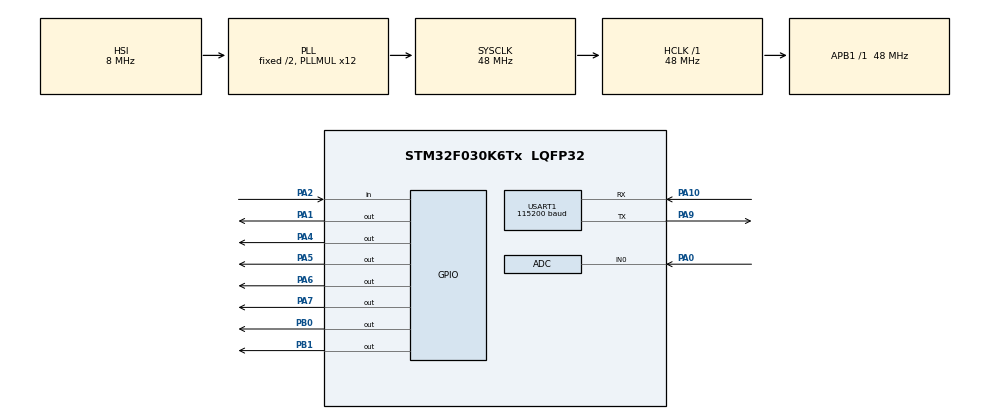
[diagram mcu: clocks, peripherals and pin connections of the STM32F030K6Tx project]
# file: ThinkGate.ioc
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Mcu.Family=STM32F0
Mcu.Name=STM32F030K6Tx
Mcu.Package=LQFP32
NVIC.USART1_IRQn=true\:1\:0\:true\:false\:true
PA0.Mode=IN0
PA0.Signal=ADC_IN0
PA1.Signal=GPIO_Output
PA10.Mode=Multiprocessor_communication
PA10.Signal=USART1_RX
PA13.Mode=Serial_Wire
PA13.Signal=SYS_SWDIO
PA14.Mode=Serial_Wire
PA14.Signal=SYS_SWCLK
PA2.Signal=GPIO_Input
PA4.Signal=GPIO_Output
PA5.Signal=GPIO_Output
PA6.Signal=GPIO_Output
PA7.Signal=GPIO_Output
PA9.Mode=Multiprocessor_communication
PA9.Signal=USART1_TX
PB0.Signal=GPIO_Output
PB1.Signal=GPIO_Output
ProjectManager.HeapSize=0x200
ProjectManager.StackSize=0x400
ProjectManager.TargetToolchain=MDK-ARM V5
RCC.AHBFreq_Value=48000000
RCC.APB1Freq_Value=48000000
RCC.APB1TimFreq_Value=48000000
RCC.HCLKFreq_Value=48000000
RCC.PLLMUL=RCC_PLL_MUL12
RCC.SYSCLKFreq_VALUE=48000000
RCC.SYSCLKSource=RCC_SYSCLKSOURCE_PLLCLK
USART1.BaudRate=115200
board=ThinkGate

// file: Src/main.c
/**
  ******************************************************************************
  * File Name          : main.c
  * Description        : Main program body
  ******************************************************************************
  *
  * COPYRIGHT(c) 2017 STMicroelectronics
  *
  * Redistribution and use in source and binary forms, with or without modification,
  * are permitted provided that the following conditions are met:
  *   1. Redistributions of source code must retain the above copyright notice,
  *      this list of conditions and the following disclaimer.
  *   2. Redistributions in binary form must reproduce the above copyright notice,
  *      this list of conditions and the following disclaimer in the documentation
  *      and/or other materials provided with the distribution.
  *   3. Neither the name of STMicroelectronics nor the names of its contributors
  *      may be used to endorse or promote products derived from this software
  *      without specific prior written permission.
  *
  * THIS SOFTWARE IS PROVIDED BY THE COPYRIGHT HOLDERS AND CONTRIBUTORS "AS IS"
  * AND ANY EXPRESS OR IMPLIED WARRANTIES, INCLUDING, BUT NOT LIMITED TO, THE
  * IMPLIED WARRANTIES OF MERCHANTABILITY AND FITNESS FOR A PARTICULAR PURPOSE ARE
  * DISCLAIMED. IN NO EVENT SHALL THE COPYRIGHT HOLDER OR CONTRIBUTORS BE LIABLE
  * FOR ANY DIRECT, INDIRECT, INCIDENTAL, SPECIAL, EXEMPLARY, OR CONSEQUENTIAL
  * DAMAGES (INCLUDING, BUT NOT LIMITED TO, PROCUREMENT OF SUBSTITUTE GOODS OR
  * SERVICES; LOSS OF USE, DATA, OR PROFITS; OR BUSINESS INTERRUPTION) HOWEVER
  * CAUSED AND ON ANY THEORY OF LIABILITY, WHETHER IN CONTRACT, STRICT LIABILITY,
  * OR TORT (INCLUDING NEGLIGENCE OR OTHERWISE) ARISING IN ANY WAY OUT OF THE USE
  * OF THIS SOFTWARE, EVEN IF ADVISED OF THE POSSIBILITY OF SUCH DAMAGE.
  *
  ******************************************************************************
  */
#include "main.h"
#include "stm32f0xx_hal.h"

/* USER CODE BEGIN Includes */
#include "sys.h"
#include "think_gate.h"
#include "string.h"
/* USER CODE END Includes */

ADC_HandleTypeDef hadc;

UART_HandleTypeDef huart1;

/* USER CODE BEGIN PV */
/* Private variables ---------------------------------------------------------*/
extern uint8_t InitializationKey[9];
extern uint8_t CommunicationKey[9];
extern uint8_t getCommandBuf[COMMAND_LENGTH];
extern uint8_t receiveIndex;
/* USER CODE END PV */

void SystemClock_Config(void);
void Error_Handler(void);
static void MX_GPIO_Init(void);
static void MX_USART1_UART_Init(void);
static void MX_ADC_Init(void);
uint8_t nullBuf[40]={0};
/* USER CODE BEGIN PFP */
/* Private function prototypes -----------------------------------------------*/

/* USER CODE END PFP */

int main(void)
{

  /* MCU Configuration----------------------------------------------------------*/

  /* Reset of all peripherals, Initializes the Flash interface and the Systick. */
  HAL_Init();

  /* Configure the system clock */
  SystemClock_Config();

  /* Initialize all configured peripherals */
  MX_GPIO_Init();
  MX_ADC_Init();  MX_USART1_UART_Init();

  /* USER CODE BEGIN 2 */
	//打开蓝牙
//	HAL_GPIO_WritePin(GPIOA,GPIO_PIN_8,GPIO_PIN_SET);
	//发送数据测试
//  uint8_t testBuf[7]="abcdefg";

	//	  ADCVoltage();
	SaveKey(KEY_ADDRESS,InitializationKey,sizeof(InitializationKey),CommunicationKey,sizeof(CommunicationKey));
	//FlashRead(KEY_ADDRESS,17);
	keyGet myKey=GetKey(KEY_ADDRESS,sizeof(InitializationKey),sizeof(CommunicationKey));

//	LockReceiveCommand();
//	Arc4Test();
//	Arc4Test();
//	uint8_t ConnectedBuf[1]={0};
//	HAL_UART_Receive_IT(&huart1,ConnectedBuf,1);
    /* Enable the UART Data Register not empty Interrupt */
   __HAL_UART_ENABLE_IT(&huart1, UART_IT_RXNE);
//	ReceiveTest();
  /* USER CODE END 2 */

  /* Infinite loop */
  /* USER CODE BEGIN WHILE */
  while (1)
  {
		memcpy(getCommandBuf,nullBuf,40);
//		FlashRead(KEY_ADDRESS,17);
//   BleConnectedCheck();
//		printf("@%s@%s",myKey.keyInit,myKey.keyCommun);
  while ((USART1->ISR & 0x0020)!=0x0020);
		HAL_Delay(100);
		receiveIndex=0;
//		printf("%s",getCommandBuf);
  /* USER CODE END WHILE */

  /* USER CODE BEGIN 3 */
		MsgHandle();
		HAL_GPIO_TogglePin(GPIOA,GPIO_PIN_4 | GPIO_PIN_5 );
		HAL_Delay(100);
		HAL_GPIO_TogglePin(GPIOA,GPIO_PIN_4 | GPIO_PIN_5 );
//			GetInfo();

//   if(HAL_UART_Receive_IT(&huart1,testBuf1,7)==HAL_OK)
//		printf("%s\r\n",testBuf1);
  }
  /* USER CODE END 3 */

}

/** System Clock Configuration
*/
void SystemClock_Config(void)
{

  RCC_OscInitTypeDef RCC_OscInitStruct;
  RCC_ClkInitTypeDef RCC_ClkInitStruct;
  RCC_PeriphCLKInitTypeDef PeriphClkInit;

    /**Initializes the CPU, AHB and APB busses clocks
    */
  RCC_OscInitStruct.OscillatorType = RCC_OSCILLATORTYPE_HSI|RCC_OSCILLATORTYPE_HSI14;
  RCC_OscInitStruct.HSIState = RCC_HSI_ON;
  RCC_OscInitStruct.HSI14State = RCC_HSI14_ON;
  RCC_OscInitStruct.HSICalibrationValue = 16;
  RCC_OscInitStruct.HSI14CalibrationValue = 16;
  RCC_OscInitStruct.PLL.PLLState = RCC_PLL_ON;
  RCC_OscInitStruct.PLL.PLLSource = RCC_PLLSOURCE_HSI;
  RCC_OscInitStruct.PLL.PLLMUL = RCC_PLL_MUL12;
  RCC_OscInitStruct.PLL.PREDIV = RCC_PREDIV_DIV1;
  if (HAL_RCC_OscConfig(&RCC_OscInitStruct) != HAL_OK)
  {
    Error_Handler();
  }

    /**Initializes the CPU, AHB and APB busses clocks
    */
  RCC_ClkInitStruct.ClockType = RCC_CLOCKTYPE_HCLK|RCC_CLOCKTYPE_SYSCLK
                              |RCC_CLOCKTYPE_PCLK1;
  RCC_ClkInitStruct.SYSCLKSource = RCC_SYSCLKSOURCE_PLLCLK;
  RCC_ClkInitStruct.AHBCLKDivider = RCC_SYSCLK_DIV1;
  RCC_ClkInitStruct.APB1CLKDivider = RCC_HCLK_DIV1;

  if (HAL_RCC_ClockConfig(&RCC_ClkInitStruct, FLASH_LATENCY_1) != HAL_OK)
  {
    Error_Handler();
  }

  PeriphClkInit.PeriphClockSelection = RCC_PERIPHCLK_USART1;
  PeriphClkInit.Usart1ClockSelection = RCC_USART1CLKSOURCE_PCLK1;
  if (HAL_RCCEx_PeriphCLKConfig(&PeriphClkInit) != HAL_OK)
  {
    Error_Handler();
  }

    /**Configure the Systick interrupt time
    */
  HAL_SYSTICK_Config(HAL_RCC_GetHCLKFreq()/1000);

    /**Configure the Systick
    */
  HAL_SYSTICK_CLKSourceConfig(SYSTICK_CLKSOURCE_HCLK);

  /* SysTick_IRQn interrupt configuration */
  HAL_NVIC_SetPriority(SysTick_IRQn, 0, 0);
}

/* ADC init function */
static void MX_ADC_Init(void)
{

  ADC_ChannelConfTypeDef sConfig;

    /**Configure the global features of the ADC (Clock, Resolution, Data Alignment and number of conversion)
    */
  hadc.Instance = ADC1;
  hadc.Init.ClockPrescaler = ADC_CLOCK_ASYNC_DIV1;
  hadc.Init.Resolution = ADC_RESOLUTION_12B;
  hadc.Init.DataAlign = ADC_DATAALIGN_RIGHT;
  hadc.Init.ScanConvMode = ADC_SCAN_DIRECTION_FORWARD;
  hadc.Init.EOCSelection = ADC_EOC_SINGLE_CONV;
  hadc.Init.LowPowerAutoWait = DISABLE;
  hadc.Init.LowPowerAutoPowerOff = DISABLE;
  hadc.Init.ContinuousConvMode = DISABLE;
  hadc.Init.DiscontinuousConvMode = DISABLE;
  hadc.Init.ExternalTrigConvEdge = ADC_EXTERNALTRIGCONVEDGE_NONE;
  hadc.Init.DMAContinuousRequests = DISABLE;
  hadc.Init.Overrun = ADC_OVR_DATA_PRESERVED;
  if (HAL_ADC_Init(&hadc) != HAL_OK)
  {
    Error_Handler();
  }

    /**Configure for the selected ADC regular channel to be converted.
    */
  sConfig.Channel = ADC_CHANNEL_0;
  sConfig.Rank = ADC_RANK_CHANNEL_NUMBER;
  sConfig.SamplingTime = ADC_SAMPLETIME_1CYCLE_5;
  if (HAL_ADC_ConfigChannel(&hadc, &sConfig) != HAL_OK)
  {
    Error_Handler();
  }

}

/* USART1 init function */
static void MX_USART1_UART_Init(void)
{

  huart1.Instance = USART1;
  huart1.Init.BaudRate = 115200;
  huart1.Init.WordLength = UART_WORDLENGTH_8B;
  huart1.Init.StopBits = UART_STOPBITS_1;
  huart1.Init.Parity = UART_PARITY_NONE;
  huart1.Init.Mode = UART_MODE_TX_RX;
  huart1.Init.HwFlowCtl = UART_HWCONTROL_NONE;
  huart1.Init.OverSampling = UART_OVERSAMPLING_16;
  huart1.Init.OneBitSampling = UART_ONE_BIT_SAMPLE_DISABLE;
  huart1.AdvancedInit.AdvFeatureInit = UART_ADVFEATURE_NO_INIT;
  if (HAL_MultiProcessor_Init(&huart1, 0, UART_WAKEUPMETHOD_IDLELINE) != HAL_OK)
  {
    Error_Handler();
  }

}

/** Configure pins as
        * Analog
        * Input
        * Output
        * EVENT_OUT
        * EXTI
*/
static void MX_GPIO_Init(void)
{

  GPIO_InitTypeDef GPIO_InitStruct;

  /* GPIO Ports Clock Enable */
  __HAL_RCC_GPIOA_CLK_ENABLE();
  __HAL_RCC_GPIOB_CLK_ENABLE();

  /*Configure GPIO pin Output Level */
  HAL_GPIO_WritePin(GPIOA, GPIO_PIN_1|GPIO_PIN_4|GPIO_PIN_5|GPIO_PIN_6
                          |GPIO_PIN_7, GPIO_PIN_RESET);

  /*Configure GPIO pin Output Level */
  HAL_GPIO_WritePin(GPIOB, GPIO_PIN_0|GPIO_PIN_1, GPIO_PIN_RESET);

  /*Configure GPIO pins : PA1 PA4 PA5 PA6
                           PA7 */
  GPIO_InitStruct.Pin = GPIO_PIN_1|GPIO_PIN_4|GPIO_PIN_5|GPIO_PIN_6
                          |GPIO_PIN_7;
  GPIO_InitStruct.Mode = GPIO_MODE_OUTPUT_PP;
  GPIO_InitStruct.Pull = GPIO_NOPULL;
  GPIO_InitStruct.Speed = GPIO_SPEED_FREQ_LOW;
  HAL_GPIO_Init(GPIOA, &GPIO_InitStruct);

  /*Configure GPIO pin : PA2 */
  GPIO_InitStruct.Pin = GPIO_PIN_2;
  GPIO_InitStruct.Mode = GPIO_MODE_INPUT;
  GPIO_InitStruct.Pull = GPIO_NOPULL;
  HAL_GPIO_Init(GPIOA, &GPIO_InitStruct);

  /*Configure GPIO pins : PB0 PB1 */
  GPIO_InitStruct.Pin = GPIO_PIN_0|GPIO_PIN_1;
  GPIO_InitStruct.Mode = GPIO_MODE_OUTPUT_PP;
  GPIO_InitStruct.Pull = GPIO_NOPULL;
  GPIO_InitStruct.Speed = GPIO_SPEED_FREQ_LOW;
  HAL_GPIO_Init(GPIOB, &GPIO_InitStruct);

}

void Error_Handler(void)
{
  while(1)
  {
  }
}

/************************ (C) COPYRIGHT STMicroelectronics *****END OF FILE****/
